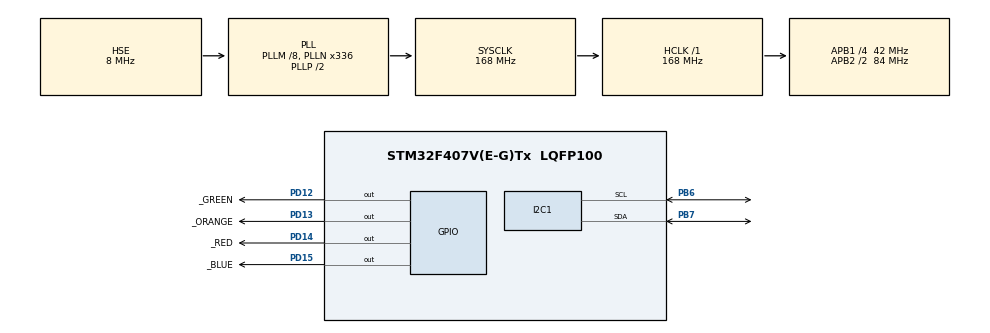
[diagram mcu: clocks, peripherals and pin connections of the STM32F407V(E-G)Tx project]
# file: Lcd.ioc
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Dma.I2C1_RX.0.Direction=DMA_PERIPH_TO_MEMORY
Dma.I2C1_RX.0.FIFOMode=DMA_FIFOMODE_DISABLE
Dma.I2C1_RX.0.Instance=DMA1_Stream0
Dma.I2C1_RX.0.MemDataAlignment=DMA_MDATAALIGN_BYTE
Dma.I2C1_RX.0.MemInc=DMA_MINC_ENABLE
Dma.I2C1_RX.0.Mode=DMA_NORMAL
Dma.I2C1_RX.0.PeriphDataAlignment=DMA_PDATAALIGN_BYTE
Dma.I2C1_RX.0.PeriphInc=DMA_PINC_DISABLE
Dma.I2C1_RX.0.Priority=DMA_PRIORITY_LOW
Dma.I2C1_TX.1.Direction=DMA_MEMORY_TO_PERIPH
Dma.I2C1_TX.1.FIFOMode=DMA_FIFOMODE_DISABLE
Dma.I2C1_TX.1.Instance=DMA1_Stream6
Dma.I2C1_TX.1.MemDataAlignment=DMA_MDATAALIGN_BYTE
Dma.I2C1_TX.1.MemInc=DMA_MINC_ENABLE
Dma.I2C1_TX.1.Mode=DMA_NORMAL
Dma.I2C1_TX.1.PeriphDataAlignment=DMA_PDATAALIGN_BYTE
Dma.I2C1_TX.1.PeriphInc=DMA_PINC_DISABLE
Dma.I2C1_TX.1.Priority=DMA_PRIORITY_LOW
Dma.Request0=I2C1_RX
Dma.Request1=I2C1_TX
I2C1.I2C_Mode=I2C_Fast
I2C1.OwnAddress=0x78
Mcu.Family=STM32F4
Mcu.Name=STM32F407V(E-G)Tx
Mcu.Package=LQFP100
NVIC.DMA1_Stream0_IRQn=true\:0\:0\:false\:false\:true\:false\:true
NVIC.DMA1_Stream6_IRQn=true\:0\:0\:false\:false\:true\:false\:true
NVIC.I2C1_ER_IRQn=true\:0\:0\:false\:false\:true\:true\:true
NVIC.I2C1_EV_IRQn=true\:0\:0\:false\:false\:true\:true\:true
NVIC.PriorityGroup=NVIC_PRIORITYGROUP_4
PB6.Mode=I2C
PB6.Signal=I2C1_SCL
PB7.Mode=I2C
PB7.Signal=I2C1_SDA
PD12.GPIO_Label=_GREEN
PD12.Signal=GPIO_Output
PD13.GPIO_Label=_ORANGE
PD13.Signal=GPIO_Output
PD14.GPIO_Label=_RED
PD14.Signal=GPIO_Output
PD15.GPIO_Label=_BLUE
PD15.Signal=GPIO_Output
PH0-OSC_IN.Mode=HSE-External-Oscillator
PH0-OSC_IN.Signal=RCC_OSC_IN
PH1-OSC_OUT.Mode=HSE-External-Oscillator
PH1-OSC_OUT.Signal=RCC_OSC_OUT
ProjectManager.HeapSize=0x2000
ProjectManager.StackSize=0x4000
ProjectManager.TargetToolchain=MDK-ARM V5.27
RCC.48MHZClocksFreq_Value=84000000
RCC.AHBFreq_Value=168000000
RCC.APB1CLKDivider=RCC_HCLK_DIV4
RCC.APB1Freq_Value=42000000
RCC.APB1TimFreq_Value=84000000
RCC.APB2CLKDivider=RCC_HCLK_DIV2
RCC.APB2Freq_Value=84000000
RCC.APB2TimFreq_Value=168000000
RCC.CortexFreq_Value=168000000
RCC.HCLKFreq_Value=168000000
RCC.HSE_VALUE=8000000
RCC.HSI_VALUE=16000000
RCC.LSE_VALUE=32768
RCC.PLLM=8
RCC.PLLN=336
RCC.PLLSourceVirtual=RCC_PLLSOURCE_HSE
RCC.SYSCLKFreq_VALUE=168000000
RCC.SYSCLKSource=RCC_SYSCLKSOURCE_PLLCLK
RCC.VCOOutputFreq_Value=336000000
board=custom

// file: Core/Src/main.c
/* USER CODE BEGIN Header */
/**
  ******************************************************************************
  * @file           : main.c
  * @brief          : Main program body
  ******************************************************************************
  * @attention
  *
  * <h2><center>&copy; Copyright (c) 2021 STMicroelectronics.
  * All rights reserved.</center></h2>
  *
  * This software component is licensed by ST under BSD 3-Clause license,
  * the "License"; You may not use this file except in compliance with the
  * License. You may obtain a copy of the License at:
  *                        opensource.org/licenses/BSD-3-Clause
  *
  ******************************************************************************
  */
/* USER CODE END Header */
#include "main.h"

/* USER CODE BEGIN Includes */
#include	<stdio.h>
#include	<string.h>
#include	"stm32f4_discovery_lcd.h"

/* USER CODE END Includes */

I2C_HandleTypeDef hi2c1;
DMA_HandleTypeDef hdma_i2c1_rx;
DMA_HandleTypeDef hdma_i2c1_tx;

void SystemClock_Config(void);
static void MX_GPIO_Init(void);
static void MX_DMA_Init(void);
static void MX_I2C1_Init(void);

/* USER CODE BEGIN 0 */
uint8_t lcd[128*8], buf[256];
uint8_t	page=0,flag=0;

void	HAL_I2C_ErrorCallback(I2C_HandleTypeDef *hi2c) {
	HAL_I2C_Slave_Receive_DMA(&hi2c1,buf,2);
}

void HAL_I2C_SlaveRxCpltCallback(I2C_HandleTypeDef *hi2c) {
	if(flag == 1) {
		flag=0;
		memcpy(&lcd[page*128],&buf[1],128);
		HAL_I2C_Slave_Receive_DMA(&hi2c1,buf,2);
	} else if(buf[0]==0 && (buf[1] & 0xf0)==0xB0) {
		page=buf[1] & 0x0f;
		HAL_I2C_Slave_Receive_DMA(&hi2c1,&buf[0],2);
	} else if(buf[0]==0 && buf[1]==0x10) {
		flag=1;
		HAL_I2C_Slave_Receive_DMA(&hi2c1,&buf[0],129);
	} else
		HAL_I2C_Slave_Receive_DMA(&hi2c1,&buf[0],2);
}
/* USER CODE END 0 */

int main(void)
{

  /* MCU Configuration--------------------------------------------------------*/

  /* Reset of all peripherals, Initializes the Flash interface and the Systick. */
  HAL_Init();

  /* Configure the system clock */
  SystemClock_Config();

  /* Initialize all configured peripherals */
  MX_GPIO_Init();
  MX_DMA_Init();
  MX_I2C1_Init();
  /* USER CODE BEGIN 2 */
	STM32f4_Discovery_LCD_Init();
	LCD_SetBackColor(LCD_COLOR_BLACK);
	LCD_SetTextColor(LCD_COLOR_YELLOW);
	LCD_SetFont(&Font8x12);
	LCD_Clear(LCD_COLOR_BLACK);

	HAL_I2C_Slave_Receive_DMA(&hi2c1,buf,2);
  /* USER CODE END 2 */

  /* Infinite loop */
  /* USER CODE BEGIN WHILE */
  while (1)
  {
		for(int j=0; j<64; ++j) {
			LCD_SetCursor(0, j);
			LCD_WriteRAM_Prepare();
			for(int i=0; i<128; ++i)	{
				if(lcd[i + 128*(j/8)] & (0x01<<(j%8)))
					LCD_WriteRAM(LCD_COLOR_YELLOW);
				else
					LCD_WriteRAM(LCD_COLOR_BLACK);
			}
		}
    /* USER CODE END WHILE */

  }
}

void SystemClock_Config(void)
{
  RCC_OscInitTypeDef RCC_OscInitStruct = {0};
  RCC_ClkInitTypeDef RCC_ClkInitStruct = {0};

  /** Configure the main internal regulator output voltage
  */
  __HAL_RCC_PWR_CLK_ENABLE();
  __HAL_PWR_VOLTAGESCALING_CONFIG(PWR_REGULATOR_VOLTAGE_SCALE1);
  /** Initializes the RCC Oscillators according to the specified parameters
  * in the RCC_OscInitTypeDef structure.
  */
  RCC_OscInitStruct.OscillatorType = RCC_OSCILLATORTYPE_HSE;
  RCC_OscInitStruct.HSEState = RCC_HSE_ON;
  RCC_OscInitStruct.PLL.PLLState = RCC_PLL_ON;
  RCC_OscInitStruct.PLL.PLLSource = RCC_PLLSOURCE_HSE;
  RCC_OscInitStruct.PLL.PLLM = 8;
  RCC_OscInitStruct.PLL.PLLN = 336;
  RCC_OscInitStruct.PLL.PLLP = RCC_PLLP_DIV2;
  RCC_OscInitStruct.PLL.PLLQ = 4;
  if (HAL_RCC_OscConfig(&RCC_OscInitStruct) != HAL_OK)
  {
    Error_Handler();
  }
  /** Initializes the CPU, AHB and APB buses clocks
  */
  RCC_ClkInitStruct.ClockType = RCC_CLOCKTYPE_HCLK|RCC_CLOCKTYPE_SYSCLK
                              |RCC_CLOCKTYPE_PCLK1|RCC_CLOCKTYPE_PCLK2;
  RCC_ClkInitStruct.SYSCLKSource = RCC_SYSCLKSOURCE_PLLCLK;
  RCC_ClkInitStruct.AHBCLKDivider = RCC_SYSCLK_DIV1;
  RCC_ClkInitStruct.APB1CLKDivider = RCC_HCLK_DIV4;
  RCC_ClkInitStruct.APB2CLKDivider = RCC_HCLK_DIV2;

  if (HAL_RCC_ClockConfig(&RCC_ClkInitStruct, FLASH_LATENCY_5) != HAL_OK)
  {
    Error_Handler();
  }
}

static void MX_I2C1_Init(void)
{

  hi2c1.Instance = I2C1;
  hi2c1.Init.ClockSpeed = 400000;
  hi2c1.Init.DutyCycle = I2C_DUTYCYCLE_2;
  hi2c1.Init.OwnAddress1 = 0x78;
  hi2c1.Init.AddressingMode = I2C_ADDRESSINGMODE_7BIT;
  hi2c1.Init.DualAddressMode = I2C_DUALADDRESS_DISABLE;
  hi2c1.Init.OwnAddress2 = 0;
  hi2c1.Init.GeneralCallMode = I2C_GENERALCALL_DISABLE;
  hi2c1.Init.NoStretchMode = I2C_NOSTRETCH_DISABLE;
  if (HAL_I2C_Init(&hi2c1) != HAL_OK)
  {
    Error_Handler();
  }

}

static void MX_DMA_Init(void)
{

  /* DMA controller clock enable */
  __HAL_RCC_DMA1_CLK_ENABLE();

  /* DMA interrupt init */
  /* DMA1_Stream0_IRQn interrupt configuration */
  HAL_NVIC_SetPriority(DMA1_Stream0_IRQn, 0, 0);
  HAL_NVIC_EnableIRQ(DMA1_Stream0_IRQn);
  /* DMA1_Stream6_IRQn interrupt configuration */
  HAL_NVIC_SetPriority(DMA1_Stream6_IRQn, 0, 0);
  HAL_NVIC_EnableIRQ(DMA1_Stream6_IRQn);

}

static void MX_GPIO_Init(void)
{
  GPIO_InitTypeDef GPIO_InitStruct = {0};

  /* GPIO Ports Clock Enable */
  __HAL_RCC_GPIOH_CLK_ENABLE();
  __HAL_RCC_GPIOD_CLK_ENABLE();
  __HAL_RCC_GPIOB_CLK_ENABLE();

  /*Configure GPIO pin Output Level */
  HAL_GPIO_WritePin(GPIOD, _GREEN_Pin|_ORANGE_Pin|_RED_Pin|_BLUE_Pin, GPIO_PIN_RESET);

  /*Configure GPIO pins : _GREEN_Pin _ORANGE_Pin _RED_Pin _BLUE_Pin */
  GPIO_InitStruct.Pin = _GREEN_Pin|_ORANGE_Pin|_RED_Pin|_BLUE_Pin;
  GPIO_InitStruct.Mode = GPIO_MODE_OUTPUT_PP;
  GPIO_InitStruct.Pull = GPIO_NOPULL;
  GPIO_InitStruct.Speed = GPIO_SPEED_FREQ_LOW;
  HAL_GPIO_Init(GPIOD, &GPIO_InitStruct);

}

void Error_Handler(void)
{
  __disable_irq();
  while (1)
  {
  }
}

/************************ (C) COPYRIGHT STMicroelectronics *****END OF FILE****/
